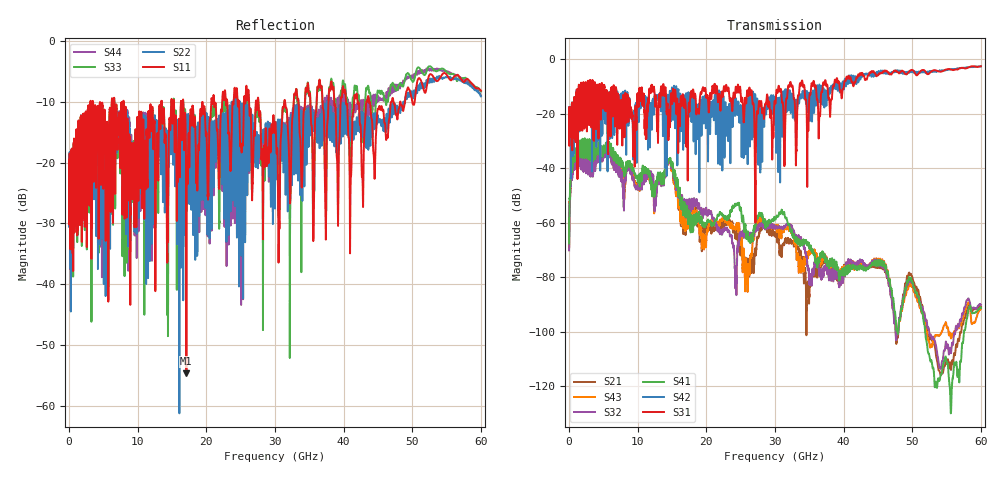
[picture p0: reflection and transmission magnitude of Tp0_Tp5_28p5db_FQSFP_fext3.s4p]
!4 port subset of full cascaded channels using these ports:7 37 8 38
# Hz S RI R 50
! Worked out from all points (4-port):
!   6000 points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, 10 MHz to 60 GHz, reference 50 ohm
!   strongest paths, dB at 10 MHz, 15.01 GHz, 30.01 GHz, 45.01 GHz, 60 GHz:
!     S31: -20.0, -15.8, -15.8, -6.0, -2.6
!     S42: -20.0, -10.7, -13.8, -5.2, -2.7
!     S41: -67.6, -38.2, -58.7, -73.9, -91.2
!     S32: -70.2, -39.1, -61.7, -73.8, -90.1
!     S43: -69.0, -39.6, -61.7, -73.3, -91.6
!     S21: -69.0, -39.4, -64.6, -74.5, -90.7
!   lowest |S11| = -54.6 dB at 17.09 GHz (marker M1), VSWR 1.00, Z = 50.2 + j0.0639 ohm
!   |S11| at or under -10 dB: 7.935 GHz to 13.45 GHz (5.516 GHz wide, 51.6 % of centre); 16.65 GHz to 20.72 GHz (4.074 GHz wide, 21.8 % of centre); 27.6 GHz to 31.36 GHz (3.764 GHz wide, 12.8 % of centre)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
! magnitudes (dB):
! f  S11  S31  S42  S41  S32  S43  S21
! 10 MHz  -22.0  -20.0  -20.0  -67.6  -70.2  -69.0  -69.0
! 1.12 GHz  -14.9  -11.1  -11.2  -35.0  -38.2  -36.6  -36.7
! 5.57 GHz  -14.4  -14.4  -20.5  -32.3  -34.3  -33.7  -33.6
! 17.09 GHz  -54.6  -30.4  -12.8  -57.0  -54.4  -57.8  -57.6
! 24.25 GHz  -9.1  -10.7  -15.0  -53.4  -79.2  -62.5  -65.4
! 27.26 GHz  -9.9  -26.5  -30.0  -59.2  -62.8  -62.1  -69.7
! 60 GHz  -8.2  -2.6  -2.7  -91.2  -90.1  -91.6  -90.7
